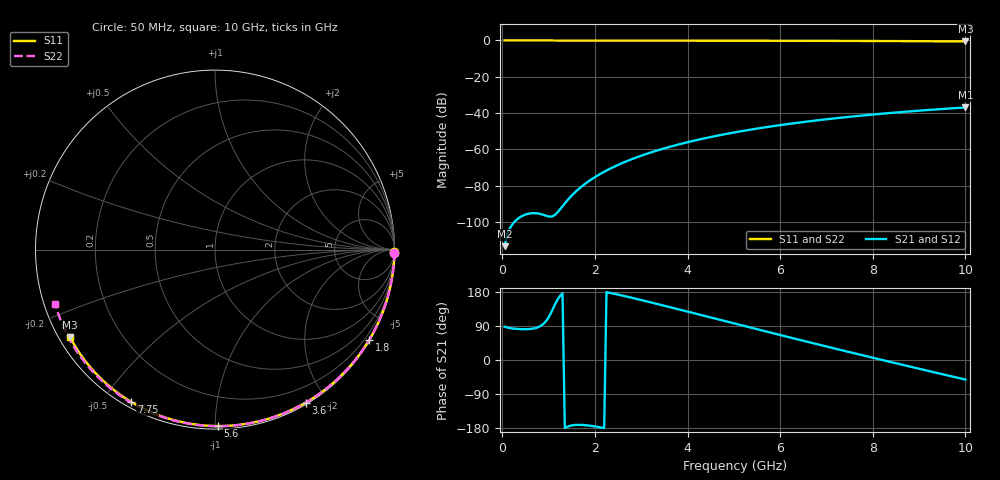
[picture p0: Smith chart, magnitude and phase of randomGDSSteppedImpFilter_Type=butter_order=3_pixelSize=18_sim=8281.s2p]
! freq	dB(S11)	phase(S11)	dB(S12)	phase(S12)
!  dB(S21)	phase(S21)	dB(S22)	phase(S22)
!S-par simulation data
#  GHz  S  DB  R 50
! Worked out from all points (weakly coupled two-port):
!   200 points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, 50 MHz to 10 GHz, reference 50 ohm
!   highest |S21| = -36.91 dB at 10 GHz (marker M1); lowest = -113.3 dB at 50 MHz (marker M2)
!   lowest |S11| = -0.5 dB at 10 GHz (marker M3), VSWR 34.38, Z = 1.57 - j13.9 ohm
!   |S11| at or under -10 dB: nowhere
!   |S22| runs from -0.5 to 0.0 dB; largest |S21 - S12| = 0
!   S11 on the Smith chart (normalised r, x): 50 MHz: open; 1.8 GHz: 0.03, -3.68; 3.6 GHz: 0.02, -1.76; 5.6 GHz: 0.02, -1.02; 7.75 GHz: 0.02, -0.59; 10 GHz: 0.03, -0.28
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0.05  -0.00 -0.9  -113.26 87.8  -113.26 87.8  -0.00 -0.9
0.45  -0.01 -7.7  -96.38 81.3  -96.38 81.3  -0.01 -8.5
0.85  -0.02 -14.5  -95.73 91.6  -95.73 91.6  -0.02 -16.0
1.25  -0.03 -21.2  -92.93 169.5  -92.93 169.5  -0.03 -23.4
1.7  -0.04 -28.7  -80.69 -171.2  -80.69 -171.2  -0.04 -31.6
1.75  -0.04 -29.6  -79.67 -171.6  -79.67 -171.6  -0.04 -32.6
1.8  -0.04 -30.4  -78.71 -172.1  -78.71 -172.1  -0.04 -33.5
2.1  -0.05 -35.3  -73.71 -177.4  -73.71 -177.4  -0.05 -38.9
2.3  -0.05 -38.6  -70.95 177.9  -70.95 177.9  -0.05 -42.5
2.5  -0.05 -41.8  -68.52 172.6  -68.52 172.6  -0.06 -46.0
2.9  -0.06 -48.3  -64.37 161.2  -64.37 161.2  -0.07 -53.0
3.4  -0.07 -56.2  -60.14 146.2  -60.14 146.2  -0.08 -61.6
3.6  -0.08 -59.3  -58.67 140.1  -58.67 140.1  -0.09 -65.0
4.3  -0.10 -70.0  -54.26 118.4  -54.26 118.4  -0.11 -76.6
5.05  -0.13 -81.2  -50.46 95.1  -50.46 95.1  -0.14 -88.6
5.6  -0.15 -89.1  -48.13 78.1  -48.13 78.1  -0.16 -97.1
6.15  -0.17 -96.9  -46.08 61.3  -46.08 61.3  -0.19 -105.5
6.7  -0.20 -104.5  -44.28 44.6  -44.28 44.6  -0.22 -113.7
7.75  -0.28 -118.8  -41.38 13.3  -41.38 13.3  -0.30 -128.9
8.35  -0.33 -126.8  -39.99 -4.3  -39.99 -4.3  -0.35 -137.5
9.2  -0.41 -138.1  -38.27 -28.8  -38.27 -28.8  -0.44 -149.7
10  -0.51 -148.9  -36.91 -51.6  -36.91 -51.6  -0.53 -161.3
